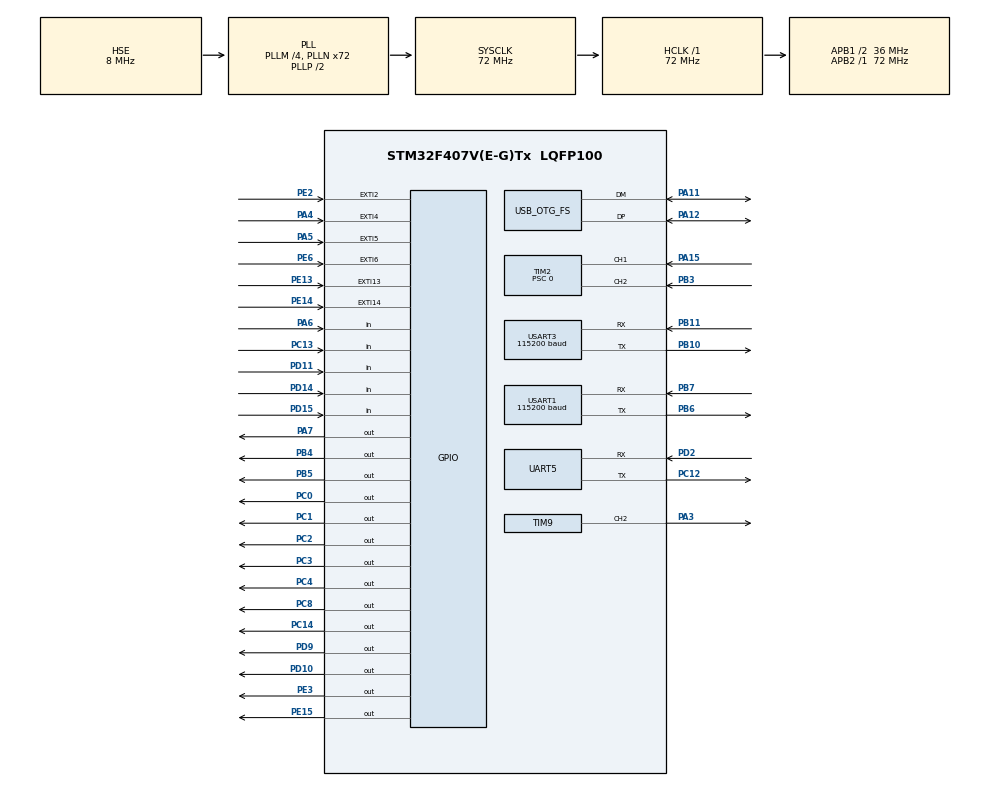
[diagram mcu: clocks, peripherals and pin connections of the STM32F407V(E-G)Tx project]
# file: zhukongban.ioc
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Dma.Request0=USART3_RX
Dma.Request1=USART3_TX
Dma.Request2=USART1_RX
Dma.Request3=USART1_TX
Dma.Request4=UART5_RX
Dma.Request5=UART5_TX
Dma.UART5_RX.4.Direction=DMA_PERIPH_TO_MEMORY
Dma.UART5_RX.4.FIFOMode=DMA_FIFOMODE_DISABLE
Dma.UART5_RX.4.Instance=DMA1_Stream0
Dma.UART5_RX.4.MemDataAlignment=DMA_MDATAALIGN_BYTE
Dma.UART5_RX.4.MemInc=DMA_MINC_ENABLE
Dma.UART5_RX.4.Mode=DMA_NORMAL
Dma.UART5_RX.4.PeriphDataAlignment=DMA_PDATAALIGN_BYTE
Dma.UART5_RX.4.PeriphInc=DMA_PINC_DISABLE
Dma.UART5_RX.4.Priority=DMA_PRIORITY_LOW
Dma.UART5_TX.5.Direction=DMA_MEMORY_TO_PERIPH
Dma.UART5_TX.5.FIFOMode=DMA_FIFOMODE_DISABLE
Dma.UART5_TX.5.Instance=DMA1_Stream7
Dma.UART5_TX.5.MemDataAlignment=DMA_MDATAALIGN_BYTE
Dma.UART5_TX.5.MemInc=DMA_MINC_ENABLE
Dma.UART5_TX.5.Mode=DMA_NORMAL
Dma.UART5_TX.5.PeriphDataAlignment=DMA_PDATAALIGN_BYTE
Dma.UART5_TX.5.PeriphInc=DMA_PINC_DISABLE
Dma.UART5_TX.5.Priority=DMA_PRIORITY_LOW
Dma.USART1_RX.2.Direction=DMA_PERIPH_TO_MEMORY
Dma.USART1_RX.2.FIFOMode=DMA_FIFOMODE_DISABLE
Dma.USART1_RX.2.Instance=DMA2_Stream2
Dma.USART1_RX.2.MemDataAlignment=DMA_MDATAALIGN_BYTE
Dma.USART1_RX.2.MemInc=DMA_MINC_ENABLE
Dma.USART1_RX.2.Mode=DMA_NORMAL
Dma.USART1_RX.2.PeriphDataAlignment=DMA_PDATAALIGN_BYTE
Dma.USART1_RX.2.PeriphInc=DMA_PINC_DISABLE
Dma.USART1_RX.2.Priority=DMA_PRIORITY_LOW
Dma.USART1_TX.3.Direction=DMA_MEMORY_TO_PERIPH
Dma.USART1_TX.3.FIFOMode=DMA_FIFOMODE_DISABLE
Dma.USART1_TX.3.Instance=DMA2_Stream7
Dma.USART1_TX.3.MemDataAlignment=DMA_MDATAALIGN_BYTE
Dma.USART1_TX.3.MemInc=DMA_MINC_ENABLE
Dma.USART1_TX.3.Mode=DMA_NORMAL
Dma.USART1_TX.3.PeriphDataAlignment=DMA_PDATAALIGN_BYTE
Dma.USART1_TX.3.PeriphInc=DMA_PINC_DISABLE
Dma.USART1_TX.3.Priority=DMA_PRIORITY_LOW
Dma.USART3_RX.0.Direction=DMA_PERIPH_TO_MEMORY
Dma.USART3_RX.0.FIFOMode=DMA_FIFOMODE_DISABLE
Dma.USART3_RX.0.Instance=DMA1_Stream1
Dma.USART3_RX.0.MemDataAlignment=DMA_MDATAALIGN_BYTE
Dma.USART3_RX.0.MemInc=DMA_MINC_ENABLE
Dma.USART3_RX.0.Mode=DMA_NORMAL
Dma.USART3_RX.0.PeriphDataAlignment=DMA_PDATAALIGN_BYTE
Dma.USART3_RX.0.PeriphInc=DMA_PINC_DISABLE
Dma.USART3_RX.0.Priority=DMA_PRIORITY_LOW
Dma.USART3_TX.1.Direction=DMA_MEMORY_TO_PERIPH
Dma.USART3_TX.1.FIFOMode=DMA_FIFOMODE_DISABLE
Dma.USART3_TX.1.Instance=DMA1_Stream3
Dma.USART3_TX.1.MemDataAlignment=DMA_MDATAALIGN_BYTE
Dma.USART3_TX.1.MemInc=DMA_MINC_ENABLE
Dma.USART3_TX.1.Mode=DMA_NORMAL
Dma.USART3_TX.1.PeriphDataAlignment=DMA_PDATAALIGN_BYTE
Dma.USART3_TX.1.PeriphInc=DMA_PINC_DISABLE
Dma.USART3_TX.1.Priority=DMA_PRIORITY_LOW
Mcu.Family=STM32F4
Mcu.Name=STM32F407V(E-G)Tx
Mcu.Package=LQFP100
NVIC.DMA1_Stream0_IRQn=true\:10\:0\:true\:false\:true\:false\:true\:true
NVIC.DMA1_Stream1_IRQn=true\:10\:0\:true\:false\:true\:false\:true\:true
NVIC.DMA1_Stream3_IRQn=true\:10\:0\:true\:false\:true\:false\:true\:true
NVIC.DMA1_Stream7_IRQn=true\:10\:0\:true\:false\:true\:false\:true\:true
NVIC.DMA2_Stream2_IRQn=true\:10\:0\:true\:false\:true\:false\:true\:true
NVIC.DMA2_Stream7_IRQn=true\:10\:0\:true\:false\:true\:false\:true\:true
NVIC.EXTI15_10_IRQn=true\:3\:0\:true\:false\:true\:true\:true\:true
NVIC.EXTI2_IRQn=true\:2\:0\:true\:false\:true\:true\:true\:true
NVIC.EXTI4_IRQn=true\:2\:0\:true\:false\:true\:true\:true\:true
NVIC.EXTI9_5_IRQn=true\:3\:0\:true\:false\:true\:true\:true\:true
NVIC.FLASH_IRQn=true\:0\:0\:false\:false\:true\:true\:true\:true
NVIC.PriorityGroup=NVIC_PRIORITYGROUP_4
NVIC.RCC_IRQn=true\:0\:0\:false\:false\:true\:true\:false\:true
NVIC.TIM1_BRK_TIM9_IRQn=true\:0\:0\:false\:false\:true\:true\:true\:true
NVIC.TIM2_IRQn=true\:8\:0\:true\:false\:true\:true\:true\:true
NVIC.TIM3_IRQn=true\:8\:0\:true\:false\:true\:true\:true\:true
NVIC.TIM4_IRQn=true\:8\:0\:true\:false\:true\:true\:true\:true
NVIC.TIM5_IRQn=true\:0\:0\:false\:false\:true\:true\:true\:true
NVIC.UART5_IRQn=true\:12\:0\:true\:false\:true\:true\:true\:true
NVIC.USART1_IRQn=true\:12\:0\:true\:false\:true\:true\:true\:true
NVIC.USART3_IRQn=true\:12\:0\:true\:false\:true\:true\:true\:true
PA11.Mode=Host_Only
PA11.Signal=USB_OTG_FS_DM
PA12.Mode=Host_Only
PA12.Signal=USB_OTG_FS_DP
PA13.Mode=Serial_Wire
PA13.Signal=SYS_JTMS-SWDIO
PA14.Mode=Serial_Wire
PA14.Signal=SYS_JTCK-SWCLK
PA15.GPIO_PuPd=GPIO_PULLDOWN
PA15.GPIO_Speed=GPIO_SPEED_FREQ_HIGH
PA15.Signal=S_TIM2_CH1_ETR
PA3.Signal=S_TIM9_CH2
PA4.GPIO_ModeDefaultEXTI=GPIO_MODE_IT_RISING_FALLING
PA4.Signal=GPXTI4
PA5.GPIO_ModeDefaultEXTI=GPIO_MODE_IT_RISING_FALLING
PA5.Signal=GPXTI5
PA6.Signal=GPIO_Input
PA7.PinState=GPIO_PIN_SET
PA7.Signal=GPIO_Output
PB10.Mode=Asynchronous
PB10.Signal=USART3_TX
PB11.Mode=Asynchronous
PB11.Signal=USART3_RX
PB3.GPIO_PuPd=GPIO_PULLDOWN
PB3.GPIO_Speed=GPIO_SPEED_FREQ_HIGH
PB3.Signal=S_TIM2_CH2
PB4.PinState=GPIO_PIN_SET
PB4.Signal=GPIO_Output
PB5.Signal=GPIO_Output
PB6.Mode=Asynchronous
PB6.Signal=USART1_TX
PB7.Mode=Asynchronous
PB7.Signal=USART1_RX
PC0.Signal=GPIO_Output
PC1.Signal=GPIO_Output
PC10.Signal=UART4_TX
PC11.Signal=UART4_RX
PC12.Mode=Asynchronous
PC12.Signal=UART5_TX
PC13-ANTI_TAMP.Signal=GPIO_Input
PC14-OSC32_IN.Signal=GPIO_Output
PC2.Signal=GPIO_Output
PC3.Signal=GPIO_Output
PC4.PinState=GPIO_PIN_SET
PC4.Signal=GPIO_Output
PC8.Signal=GPIO_Output
PD10.PinState=GPIO_PIN_RESET
PD10.Signal=GPIO_Output
PD11.Signal=GPIO_Input
PD14.Signal=GPIO_Input
PD15.Signal=GPIO_Input
PD2.Mode=Asynchronous
PD2.Signal=UART5_RX
PD5.Signal=USART2_TX
PD6.Signal=USART2_RX
PD9.Signal=GPIO_Output
PE13.Signal=GPXTI13
PE14.GPIO_ModeDefaultEXTI=GPIO_MODE_IT_FALLING
PE14.Signal=GPXTI14
PE15.Signal=GPIO_Output
PE2.GPIO_ModeDefaultEXTI=GPIO_MODE_IT_RISING
PE2.Signal=GPXTI2
PE3.Signal=GPIO_Output
PE6.GPIO_ModeDefaultEXTI=GPIO_MODE_IT_FALLING
PE6.Signal=GPXTI6
PH0-OSC_IN.Mode=HSE-External-Oscillator
PH0-OSC_IN.Signal=RCC_OSC_IN
PH1-OSC_OUT.Mode=HSE-External-Oscillator
PH1-OSC_OUT.Signal=RCC_OSC_OUT
ProjectManager.HeapSize=0x200
ProjectManager.StackSize=0x400
ProjectManager.TargetToolchain=MDK-ARM V5.32
RCC.48MHZClocksFreq_Value=48000000
RCC.AHBFreq_Value=72000000
RCC.APB1CLKDivider=RCC_HCLK_DIV2
RCC.APB1Freq_Value=36000000
RCC.APB1TimFreq_Value=72000000
RCC.APB2Freq_Value=72000000
RCC.APB2TimFreq_Value=72000000
RCC.CortexFreq_Value=72000000
RCC.HCLKFreq_Value=72000000
RCC.HSE_VALUE=8000000
RCC.HSI_VALUE=16000000
RCC.LSE_VALUE=32768
RCC.PLLM=4
RCC.PLLN=72
RCC.PLLQ=3
RCC.SYSCLKFreq_VALUE=72000000
RCC.SYSCLKSource=RCC_SYSCLKSOURCE_PLLCLK
RCC.VCOOutputFreq_Value=144000000
SH.S_TIM2_CH1_ETR.0=TIM2_CH1,Encoder_Interface
SH.S_TIM2_CH2.0=TIM2_CH2,Encoder_Interface
SH.S_TIM9_CH2.0=TIM9_CH2,PWM Generation2 CH2
TIM2.AutoReloadPreload=TIM_AUTORELOAD_PRELOAD_ENABLE
TIM2.EncoderMode=TIM_ENCODERMODE_TI12
TIM2.Period=0xffffffff
TIM2.Prescaler=0
TIM2.TIM_MasterOutputTrigger=TIM_TRGO_RESET
TIM3.AutoReloadPreload=TIM_AUTORELOAD_PRELOAD_ENABLE
TIM3.Period=999
TIM3.Prescaler=7199
TIM4.AutoReloadPreload=TIM_AUTORELOAD_PRELOAD_ENABLE
TIM4.Period=999
TIM4.Prescaler=7199
TIM5.Period=1000
TIM5.Prescaler=71-1
TIM9.Channel-PWM\ Generation2\ CH2=TIM_CHANNEL_2
TIM9.Period=999
TIM9.Prescaler=26
TIM9.Pulse-PWM\ Generation2\ CH2=500
UART5.VirtualMode=Asynchronous
USART1.BaudRate=115200
USART1.Parity=PARITY_EVEN
USART1.VirtualMode=VM_ASYNC
USART1.WordLength=WORDLENGTH_9B
USART3.BaudRate=115200
USART3.Parity=PARITY_EVEN
USART3.VirtualMode=VM_ASYNC
USART3.WordLength=WORDLENGTH_9B
USB_OTG_FS.VirtualMode=Host_Only
USB_OTG_FS.phy_itface=HCD_PHY_EMBEDDED
VP_RTC_VS_RTC_Activate.Mode=RTC_Enabled
VP_TIM10_VS_ClockSourceINT.Mode=Enable_Timer
VP_TIM3_VS_ClockSourceINT.Mode=Internal
VP_TIM4_VS_ClockSourceINT.Mode=Internal
VP_TIM5_VS_ClockSourceINT.Mode=Internal
VP_TIM9_VS_ClockSourceINT.Mode=Internal
board=custom

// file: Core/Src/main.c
/* USER CODE BEGIN Header */
/**
  ******************************************************************************
  * @file           : main.c
  * @brief          : Main program body
  ******************************************************************************
  * @attention
  *
  * Copyright (c) 2025 STMicroelectronics.
  * All rights reserved.
  *
  * This software is licensed under terms that can be found in the LICENSE file
  * in the root directory of this software component.
  * If no LICENSE file comes with this software, it is provided AS-IS.
  *
  ******************************************************************************
  */
/* USER CODE END Header */
#include "main.h"
#include "dma.h"
#include "rtc.h"
#include "tim.h"
#include "usart.h"
#include "usb_otg.h"
#include "gpio.h"

/* USER CODE BEGIN Includes */
#include "hardware.h"
#include "stm32f4xx.h"

#include "cmdhandle.h"
#include "stdint.h"
#include <stdlib.h>
#include "unpack.h"
#include "crc.h"
#include "shared_var.h"

uint8_t rx1_buffer[RX_BUFFER_SIZE];   //接电机，串口1 485
uint8_t rx5_buffer[RX_BUFFER_SIZE];   //接高压板，串口4 232
uint8_t rx3_buffer[RX_BUFFER_SIZE];   //接上位机，串口3 422

uint8_t TXBUF0[14]= {0x55, 0xAA, 0x0E, 0x00, 0x00, 0x00,
                        0x02, 0x01, 0x05, 0x00, 0x01, 0x00, 0x00, 0x00};
uint8_t TXBUF1[19]= {0x55, 0xAA, 0x13, 0x00, 0x00, 0x00,
                        0x02, 0x01, 0x05, 0x00, 0x01, 0x00,  0x00, 0x00, 0x00, 0x00 , 0x00,0x00, 0x00};
uint8_t TXBUF2[18]= {0x55, 0xAA, 0x12, 0x00, 0x00, 0x00,
                        0x02, 0x01, 0x05, 0x00, 0x01, 0x00,  0x00, 0x00, 0x00 , 0x00,0x00, 0x00};
uint8_t TXBUFHV[17]= {0x55, 0xAA, 0x11, 0x00, 0x00, 0x00,
                        0x03, 0x02, 0x06, 0x00, 0x00, 0x00,  0x00, 0x00, 0x00 , 0x00,0x00};

//串口模拟用 模拟上位机给主控板

uint8_t TXBUF_un[18]= {0x55, 0xAA, 0x12, 0x00, 0x00, 0x00,
                        0x01, 0x02, 0x05, 0x00, 0x01, 0x00,    0x00, 0x00, 0x00,0x00,    0x00, 0x00};

uint16_t rx1_length;
uint16_t rx5_length;
uint16_t rx3_length;
uint16_t tim2_length;

uint8_t  rx1_flag = 0;
uint8_t  rx5_flag = 0;
uint8_t  rx3_flag = 0;

uint16_t k =0;
uint8_t expose_flag = 0;    //曝光标志位
uint8_t pre_flag = 0;       //预备标志位   ？？？？？没有找到
uint8_t Gybpre_flag =0;     //高压板是否准备
uint8_t mode_flag = 0;      //模式
uint8_t motor_revflag=0;    //电机反转到位
uint8_t detector_flag=0;    //探测器的连接、参数设置之后点“开始采集按钮”
uint8_t Gybpre_key=1; 			//高压板返回信号的按键   ？？？？？没有找到
uint8_t emc_flag=0;

uint16_t n_total;       //拍照总张数，从上位机读取
uint16_t t_time;        //周期,帧率倒数
uint16_t  pose_time;     //曝光时间
uint8_t state = 0;     //用于判断进度，初始是0，pre后为1，expose结束后返回0
uint8_t stop_flag = 0;  //没用到
uint8_t sync_in=0;  //探测器的SYNCIN  主控板主动给探测器发信号
uint8_t sync_out=0;  //探测器的SYNCout 外同步
uint8_t tim3flagw=0;  //PWM X-ray的标志位，拉低拉高曝光
volatile  uint8_t fmqflagw=0;  //蜂鸣器标志位

uint8_t ring_data[RB_bufsz];
uint8_t cmd_buf[RB_bufsz];

uint16_t SynState = 0;   //同步

/* USER CODE END Includes */

void SystemClock_Config(void);

int main(void)
{

  /* USER CODE BEGIN 1 */

  __enable_irq();     //ARM Cortex-M内核指令,全局开启中断

  /* USER CODE END 1 */

  /* MCU Configuration--------------------------------------------------------*/

  /* Reset of all peripherals, Initializes the Flash interface and the Systick. */
  HAL_Init();

  /* Configure the system clock */
  SystemClock_Config();

  /* Initialize all configured peripherals */
  MX_GPIO_Init();
  MX_DMA_Init();
  MX_USART1_UART_Init();
  MX_USART3_UART_Init();
  MX_USB_OTG_FS_HCD_Init();
  MX_RTC_Init();
  MX_TIM2_Init();
  MX_TIM3_Init();
  MX_TIM4_Init();
  MX_TIM9_Init();
  MX_UART5_Init();
  MX_TIM5_Init();
  MX_TIM10_Init();
  /* USER CODE BEGIN 2 */

// 使能空闲中断
  __HAL_UART_ENABLE_IT(&huart1, UART_IT_IDLE);
  __HAL_UART_ENABLE_IT(&huart5, UART_IT_IDLE);
  __HAL_UART_ENABLE_IT(&huart3, UART_IT_IDLE);

// 启动DMA接收
	HAL_UART_Receive_DMA(&huart1, rx1_buffer, sizeof(rx1_buffer));
	HAL_UART_Receive_DMA(&huart5, rx5_buffer, sizeof(rx5_buffer));
	HAL_UART_Receive_DMA(&huart3, rx3_buffer, sizeof(rx3_buffer));

	HAL_TIM_Encoder_Start(&htim2, TIM_CHANNEL_ALL);
	__HAL_TIM_SET_COUNTER(&htim2,0);  //清零定时器2的计数值

	// 启动TIM5并开启中断
	HAL_TIM_Base_Start_IT(&htim5);

  /* USER CODE END 2 */

  /* Infinite loop */
  /* USER CODE BEGIN WHILE */

  while (1)
  {

	  if(rx3_flag ==1)  // 上位机下发数据，首要任务，上位机命令处理
		{
			rx3_flag = 0; //处理一次

			if(rx3_buffer[0] ==0x55 &&rx3_buffer[1] ==0xAA && rx3_length == rx3_buffer[3]*  256 + rx3_buffer[2] )
					{
					if(rx3_buffer[7] == 0x02)  //给主控板
					 	{
							ringbuffer rbuf;
							decodeData g_decoder;
							ring_buf_init(&rbuf, ring_data); //初始化两个结构体
							unpack_init(&g_decoder, &rbuf, cmd_buf);

							// 注入数据
							for (int i = 0; i < sizeof(rx3_buffer); i++)
							{
								ring_buf_write(&rbuf, rx3_buffer[i]);   //取至rbuf
							}

							// 处理数据
				  			// while (ring_buf_avail(&rbuf) > 0)
							for (int i = 0; i < sizeof(rx3_buffer); i++)
							{
								unpack_fun(&g_decoder);
							}
						 }
					else if(rx3_buffer[7] == 0x03)    //给高压板
							{
								HAL_UART_Transmit_DMA(&huart5, rx3_buffer, rx3_length);
							}
					else
							{
								CMD_handlder_tx(TXBUF0,0x05,0x01,0x00,0x00,0x0E); //报错
							}
					}
			else if(rx3_buffer[0] == 0x01)  	//给电机
					{
						HAL_UART_Transmit_DMA(&huart1, rx3_buffer, rx3_length);
					}
			else
					{
						CMD_handlder_tx(TXBUF0,0x05,0x01,0x00,0x00,0x0E); //报错
					}

			}

		 if(rx5_flag ==1)  // 高压板发送数据，上位机命令处理
		{
			rx5_flag = 0; //处理一次
			if(rx5_buffer[0] ==0x55 &&rx5_buffer[1] ==0xAA && rx5_length == rx5_buffer[3]*  256 + rx5_buffer[2] )
					{
						if(rx5_buffer[7] == 0x01)
						{
								HAL_UART_Transmit_DMA(&huart3, rx5_buffer, rx5_length);
							}

						else if(rx5_buffer[7] == 0x02)
						{
							ringbuffer rbuf;
							decodeData g_decoder;
							ring_buf_init(&rbuf, ring_data); //初始化两个结构体
							unpack_init(&g_decoder, &rbuf, cmd_buf);

							// 注入数据
							for (int i = 0; i < sizeof(rx5_buffer); i++)
							{
								ring_buf_write(&rbuf, rx5_buffer[i]);   //取至rbuf
							}

							// 处理数据
				  			// while (ring_buf_avail(&rbuf) > 0)
							for (int i = 0; i < sizeof(rx5_buffer); i++)
							{
								unpack_fun(&g_decoder);
							}
						}
						else
							{
								CMD_handlder_tx(TXBUF0,0x05,0x01,0x00,0x00,0x0E); //报错
							}
					}
		}

		if(HAL_GPIO_ReadPin(GPIOA, GPIO_PIN_6) == GPIO_PIN_RESET )  //高压板的返回有效信号，PA6，高压板状态监测 Ready
		{
			Gybpre_flag=1;
		}
		else if(HAL_GPIO_ReadPin(GPIOA, GPIO_PIN_6) == GPIO_PIN_SET)
		{
			Gybpre_flag=0;
		}

		if( motor_revflag == 1 && detector_flag == 1)  //判断电机是否反转好&&探测器准备好  不持续，检查电机和探测器状态
		{
			state = 1; //准备好了，等待按手闸二
			motor_revflag=0;
			detector_flag=0;
		}

		if (sync_in==1)	//开始曝光
			{
				if (state ==1 && Gybpre_flag ==1 &&expose_flag ==1)  //state代表一切就绪，expose代表发出pwm(手闸二)
				{
					if(mode_flag == 3)
					{
								HAL_GPIO_WritePin(GPIOC, GPIO_PIN_4, GPIO_PIN_RESET);
					}

					state = 0;
					expose_flag =0;  //用中断函数的另一个边沿触发也可以
					HAL_TIM_Base_Start_IT(&htim4);  //启动计时器4计数，产生脉冲
					HAL_GPIO_WritePin(GPIOE, GPIO_PIN_3, GPIO_PIN_RESET); //BELL,黄色的灯
					//HAL_TIM_PWM_Start(&htim9, TIM_CHANNEL_2); //板子上的蜂鸣器
				}
			}

		if (sync_out==1)	//曝光结束处理
			{
				if (SynState ==n_total)
				{
					SynState=0;
					//HAL_GPIO_WritePin(GPIOE, GPIO_PIN_3, GPIO_PIN_RESET); //蜂鸣器
					HAL_TIM_PWM_Stop(&htim9, TIM_CHANNEL_2); //板子上的蜂鸣器
					fmqflagw=0;
					HAL_GPIO_WritePin(GPIOA,GPIO_PIN_7,GPIO_PIN_SET); //通知高压板结束准备
					CMD_handlder_tx(TXBUF0,0x05,0x03,0x00,0x00,0x0E);//发送完成命令
				}
			}

		HAL_Delay(5);
  }
    /* USER CODE END WHILE */

}

void SystemClock_Config(void)
{
  RCC_OscInitTypeDef RCC_OscInitStruct = {0};
  RCC_ClkInitTypeDef RCC_ClkInitStruct = {0};

  /** Configure the main internal regulator output voltage
  */
  __HAL_RCC_PWR_CLK_ENABLE();
  __HAL_PWR_VOLTAGESCALING_CONFIG(PWR_REGULATOR_VOLTAGE_SCALE1);

  /** Initializes the RCC Oscillators according to the specified parameters
  * in the RCC_OscInitTypeDef structure.
  */
  RCC_OscInitStruct.OscillatorType = RCC_OSCILLATORTYPE_LSI|RCC_OSCILLATORTYPE_HSE;
  RCC_OscInitStruct.HSEState = RCC_HSE_ON;
  RCC_OscInitStruct.LSIState = RCC_LSI_ON;
  RCC_OscInitStruct.PLL.PLLState = RCC_PLL_ON;
  RCC_OscInitStruct.PLL.PLLSource = RCC_PLLSOURCE_HSE;
  RCC_OscInitStruct.PLL.PLLM = 4;
  RCC_OscInitStruct.PLL.PLLN = 72;
  RCC_OscInitStruct.PLL.PLLP = RCC_PLLP_DIV2;
  RCC_OscInitStruct.PLL.PLLQ = 3;
  if (HAL_RCC_OscConfig(&RCC_OscInitStruct) != HAL_OK)
  {
    Error_Handler();
  }

  /** Initializes the CPU, AHB and APB buses clocks
  */
  RCC_ClkInitStruct.ClockType = RCC_CLOCKTYPE_HCLK|RCC_CLOCKTYPE_SYSCLK
                              |RCC_CLOCKTYPE_PCLK1|RCC_CLOCKTYPE_PCLK2;
  RCC_ClkInitStruct.SYSCLKSource = RCC_SYSCLKSOURCE_PLLCLK;
  RCC_ClkInitStruct.AHBCLKDivider = RCC_SYSCLK_DIV1;
  RCC_ClkInitStruct.APB1CLKDivider = RCC_HCLK_DIV2;
  RCC_ClkInitStruct.APB2CLKDivider = RCC_HCLK_DIV1;

  if (HAL_RCC_ClockConfig(&RCC_ClkInitStruct, FLASH_LATENCY_2) != HAL_OK)
  {
    Error_Handler();
  }
}

/* USER CODE BEGIN 4 */

void HAL_GPIO_EXTI_Callback(uint16_t GPIO_Pin)     //外部中断回调函数，处理紧急事件和关键信号
{
	if(GPIO_Pin == GPIO_PIN_2)   //EMC-急停告知;PE2；上升沿；紧急停止整个系统，安全保护功能
   {
		 HAL_Delay(10); // 消抖延时
		 if (HAL_GPIO_ReadPin(GPIOE, GPIO_PIN_2) == GPIO_PIN_RESET)         return;
		 emc_flag=1; // 设置急停标志
	 }

	if(GPIO_Pin == GPIO_PIN_4)   //  PA4 高压板的KV85
   {
		 if (HAL_GPIO_ReadPin(GPIOA, GPIO_PIN_4) == GPIO_PIN_SET)         // 上升沿
        {
				  HAL_Delay(10);// 消抖
				  if (HAL_GPIO_ReadPin(GPIOA, GPIO_PIN_4) == GPIO_PIN_RESET)         return;

				  HAL_GPIO_WritePin(GPIOA,GPIO_PIN_7,GPIO_PIN_SET);
				  HAL_TIM_Base_Stop_IT(&htim4);  	//  停止发PWM

						DataFrame_Motor1 frame1 =
						{
								.Header = 0x01,
								.Cmd = 0x05,
								.addr = 0x0123,
								.data = 0xFF00
							};

						DataFrame_Motor1 *p1 = &frame1;
						uint8_t data[8];
						Send_motor1(p1, data);//计算校验位CRC
						HAL_UART_Transmit_DMA(&huart1, data, sizeof(data));  //电机急停止
        }
        else
        {
          if (HAL_GPIO_ReadPin(GPIOA, GPIO_PIN_4) == GPIO_PIN_SET)         return;
					if (HAL_GPIO_ReadPin(GPIOA, GPIO_PIN_4) == GPIO_PIN_SET)         return;
					if (HAL_GPIO_ReadPin(GPIOA, GPIO_PIN_4) == GPIO_PIN_SET)         return;
					if (HAL_GPIO_ReadPin(GPIOA, GPIO_PIN_4) == GPIO_PIN_SET)         return;
        //  CMD_handlder_tx(TXBUF0,0X04);	//报错修好
        }
	 }

	 if(GPIO_Pin == GPIO_PIN_5)   //高压板报错，Fault。PA5。
   {
		 if (HAL_GPIO_ReadPin(GPIOA, GPIO_PIN_5) == GPIO_PIN_SET)         // 上升沿
        {
					if (HAL_GPIO_ReadPin(GPIOA, GPIO_PIN_5) == GPIO_PIN_RESET)         return;
					if (HAL_GPIO_ReadPin(GPIOA, GPIO_PIN_5) == GPIO_PIN_RESET)         return;
					if (HAL_GPIO_ReadPin(GPIOA, GPIO_PIN_5) == GPIO_PIN_RESET)         return;
					if (HAL_GPIO_ReadPin(GPIOA, GPIO_PIN_5) == GPIO_PIN_RESET)         return;

					HAL_GPIO_WritePin(GPIOA,GPIO_PIN_7,GPIO_PIN_SET);
					HAL_TIM_Base_Stop_IT(&htim4);  	//  停止发PWM

					DataFrame_Motor1 frame1 =
					{
							.Header = 0x01,
							.Cmd = 0x05,
							.addr = 0x0123,
							.data = 0xFF00
						};

					DataFrame_Motor1 *p1 = &frame1;
					uint8_t data[8];
					Send_motor1(p1, data);//计算校验位CRC
					HAL_UART_Transmit_DMA(&huart1, data, sizeof(data));  //电机急停止
//				//	CMD_handlder_tx(TXBUF0,0X06);
		  	}

			  else
				  {	//可换为标志位
					if (HAL_GPIO_ReadPin(GPIOA, GPIO_PIN_5) == GPIO_PIN_SET)         return;
					if (HAL_GPIO_ReadPin(GPIOA, GPIO_PIN_5) == GPIO_PIN_SET)         return;
					if (HAL_GPIO_ReadPin(GPIOA, GPIO_PIN_5) == GPIO_PIN_SET)         return;
					if (HAL_GPIO_ReadPin(GPIOA, GPIO_PIN_5) == GPIO_PIN_SET)         return;
					// CMD_handlder_tx(TXBUF0,0X07);	//报错修好
        }
	 }

	 if(GPIO_Pin == GPIO_PIN_6)  //PE6,手闸二；下降沿
   {
		 if(state == 1 && Gybpre_flag ==1)
		{
			if (HAL_GPIO_ReadPin(GPIOE, GPIO_PIN_6) == GPIO_PIN_SET)         return;
			if (HAL_GPIO_ReadPin(GPIOE, GPIO_PIN_6) == GPIO_PIN_SET)         return;
			if (HAL_GPIO_ReadPin(GPIOE, GPIO_PIN_6) == GPIO_PIN_SET)         return;
			if (HAL_GPIO_ReadPin(GPIOE, GPIO_PIN_6) == GPIO_PIN_SET)         return;
	  	expose_flag =1;
		 }
	 }

	 if(GPIO_Pin == GPIO_PIN_13)  //SYNCOUT探测器的采集请求信号;PE13
   {
		 if(sync_out==1 && state == 1 && Gybpre_flag ==1)
		 {
			 expose_flag =1;
			}
	 }

	 if(GPIO_Pin == GPIO_PIN_14)  //探测器返回信号FPD;PE14
   {
		if(tim3flagw==0)
		{
			if(sync_in==1 && Gybpre_flag ==1 )
			{

				if(mode_flag == 1)
				{
					HAL_Delay(1000);
				}
				__HAL_TIM_SET_COUNTER(&htim3,0);  //清零定时器3的计数值
				HAL_TIM_Base_Start_IT(&htim3);
				HAL_GPIO_WritePin(GPIOC, GPIO_PIN_4, GPIO_PIN_RESET);   //拉低曝光引脚COM ,PC4  ————exp低电平有效
				tim3flagw=1;
		  }

			//未用到
			if(sync_out==1 && state ==1 && Gybpre_flag ==1 &&expose_flag ==1)
			{
				if(fmqflagw==0)
				{
					HAL_TIM_PWM_Start(&htim9, TIM_CHANNEL_2); //板子上的蜂鸣器
					fmqflagw=1;
				}
				if(SynState < n_total)
				{
					SynState ++;
					expose_flag =0;
					__HAL_TIM_SET_COUNTER(&htim3,0);  //清零定时器3的计数值
					HAL_TIM_Base_Start_IT(&htim3);
					HAL_GPIO_WritePin(GPIOC, GPIO_PIN_4, GPIO_PIN_SET);   //拉高曝光引脚COM ,PC4
					tim3flagw=1;
				}
			}

		}
	 }

 }

 void HAL_TIM_PeriodElapsedCallback(TIM_HandleTypeDef *htim)  //定时器中断回调函数
{
	if (htim->Instance == TIM3)  //检测触发当前中断的定时器是不是TIM3
    {			//停止曝光

			if(mode_flag != 3)
					{
				HAL_GPIO_WritePin(GPIOC, GPIO_PIN_4, GPIO_PIN_SET);   //拉高曝光引脚COM ,PC4
				HAL_TIM_Base_Stop_IT(&htim3);  	//  停止定时器（避免计数干扰）
				tim3flagw = 0;   //曝光停止为0
					}
    }

		if (htim->Instance == TIM4)  //检测触发当前中断的定时器是不是TIM4
    {
			if(SynState < 2 * n_total)   //n_total拍照总张数
			{
				HAL_GPIO_TogglePin(GPIOE, GPIO_PIN_15);    //SYNC_InP,启动同步  翻转 GPIOE 第15号引脚的电平
				SynState ++;	//每次定时器中断发生时都执行一次翻转，从而在引脚上产生一个占空比为50%的方波信号
			}
			else  //拍摄结束
			{
				SynState=0;
				HAL_TIM_Base_Stop_IT(&htim4);  	//  停止定时器（避免计数干扰）
				HAL_GPIO_WritePin(GPIOE, GPIO_PIN_3, GPIO_PIN_SET); //bell黄灯
				HAL_TIM_PWM_Stop(&htim9, TIM_CHANNEL_2); //板子上的蜂鸣器
				HAL_GPIO_WritePin(GPIOA,GPIO_PIN_7,GPIO_PIN_SET); //IO口通知高压板结束准备
				CMD_handlder_tx(TXBUF0,0x05,0x03,0x00,0x00,0x0E);
			}
    }

		if (htim->Instance == TIM5)  //暂时关闭以免影响数据传输
  {
		CMD_handlder_tx(TXBUF1,0x05,0x02,0x00,0x00,0x13);   // 查询电机位置，读定时器的计数值
	}
}
/* USER CODE END 4 */

void Error_Handler(void)
{
  __disable_irq();
  while (1)
  {
  }
}
